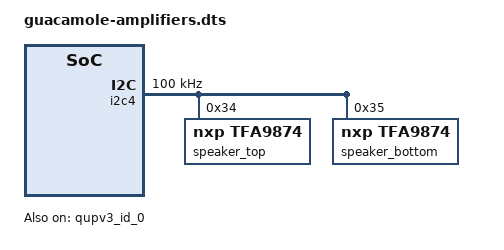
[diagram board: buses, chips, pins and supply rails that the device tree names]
/dts-v1/;
/plugin/;
/* Stock guacamole SE4 bus; preserve both amplifier reset lines. */
&qupv3_id_0 { status = "okay"; };
&i2c4 {
    #address-cells = <1>;
    #size-cells = <0>;
    clock-frequency = <100000>;
    status = "okay";
    speaker_top: audio-codec@34 {
        compatible = "nxp,tfa9874";
        reg = <0x34>;
        #sound-dai-cells = <0>;
    };
    speaker_bottom: audio-codec@35 {
        compatible = "nxp,tfa9874";
        reg = <0x35>;
        #sound-dai-cells = <0>;
    };
};
